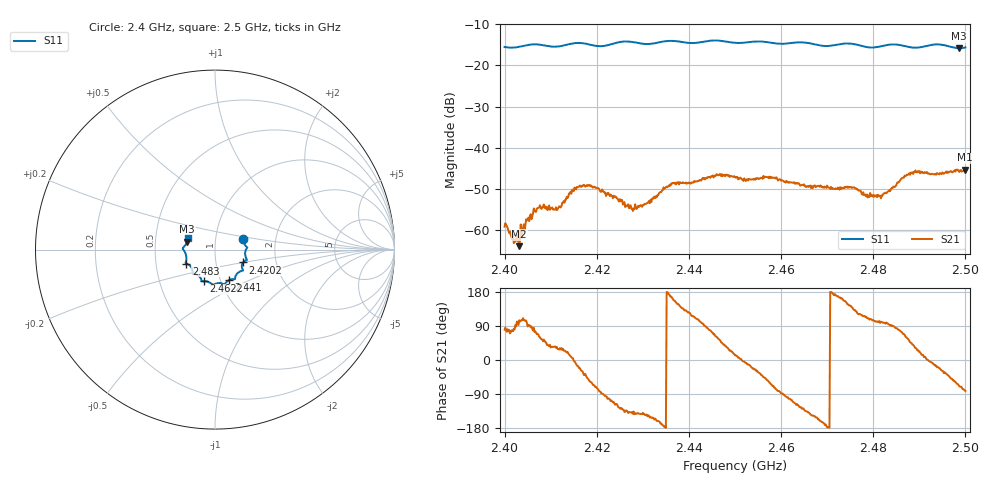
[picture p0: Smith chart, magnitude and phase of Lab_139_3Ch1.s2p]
# Hz S RI R 50
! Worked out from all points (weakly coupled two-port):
!   601 points, 2.4 GHz to 2.5 GHz, reference 50 ohm
!   highest |S21| = -45.30 dB at 2.4998 GHz (marker M1); lowest = -63.9 dB at 2.4032 GHz (marker M2)
!   lowest |S11| = -15.8 dB at 2.4987 GHz (marker M3), VSWR 1.39, Z = 36.4 + j3.29 ohm
!   |S11| at or under -10 dB: start of sweep to end of sweep
!   S12 and S22 are empty: the file has one direction only
!   S11 on the Smith chart (normalised r, x): 2.4 GHz: 1.36, +0.17; 2.4202 GHz: 1.35, -0.20; 2.441 GHz: 1.10, -0.39; 2.4622 GHz: 0.83, -0.30; 2.483 GHz: 0.72, -0.12; 2.5 GHz: 0.73, +0.09
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2.4e9  0.1563 0.0602  0.000187 0.00108  0 0  0 0
2.402e9  0.1607 0.0362  9.05e-05 0.000687  0 0  0 0
2.403167e9  0.1666 0.0252  -0.000163 0.000617  0 0  0 0
2.406833e9  0.1797 0.0121  0.000519 0.00159  0 0  0 0
2.411833e9  0.1678 -0.0284  0.00172 0.000899  0 0  0 0
2.416667e9  0.1776 -0.0583  0.00294 -0.0016  0 0  0 0
2.420167e9  0.1562 -0.0718  0.000781 -0.00314  0 0  0 0
2.427667e9  0.1532 -0.1174  -0.00135 -0.00125  0 0  0 0
2.433333e9  0.1128 -0.1524  -0.0025 -0.000866  0 0  0 0
2.4365e9  0.1099 -0.1654  -0.00355 0.00118  0 0  0 0
2.441e9  0.0768 -0.1705  -0.00157 0.00345  0 0  0 0
2.45e9  0.0267 -0.1862  0.00431 0.000944  0 0  0 0
2.462167e9  -0.0631 -0.1762  -0.00101 -0.00365  0 0  0 0
2.466667e9  -0.0765 -0.167  -0.00284 -0.0019  0 0  0 0
2.4755e9  -0.1257 -0.1329  -0.00242 0.0022  0 0  0 0
2.478667e9  -0.1283 -0.1064  -0.000946 0.00254  0 0  0 0
2.483e9  -0.1591 -0.0779  -0.000334 0.00284  0 0  0 0
2.483333e9  -0.1608 -0.077  -0.000221 0.00297  0 0  0 0
2.488667e9  -0.1598 -0.0397  0.00368 0.00309  0 0  0 0
2.498667e9  -0.156 0.0441  0.00184 -0.00474  0 0  0 0
2.499833e9  -0.1532 0.0605  0.000943 -0.00535  0 0  0 0
2.5e9  -0.1531 0.0626  0.000744 -0.00518  0 0  0 0
